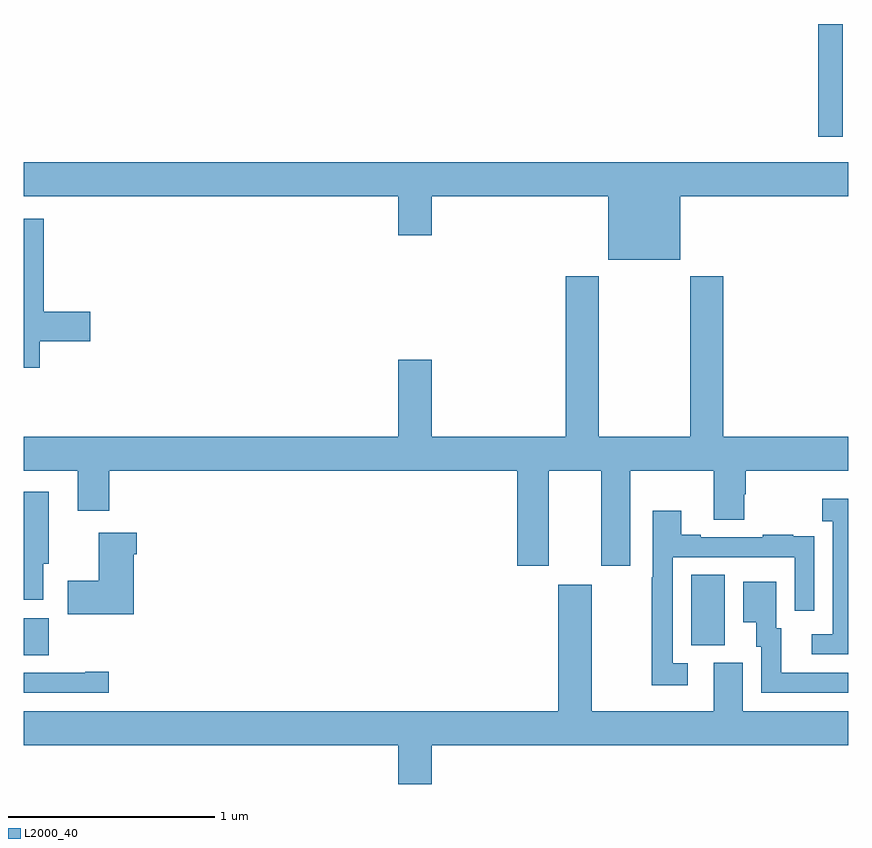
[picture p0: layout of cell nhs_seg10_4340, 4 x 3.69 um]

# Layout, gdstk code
import gdstk
lib = gdstk.Library(unit=1e-6, precision=1e-09)
def R(c, l, rs):  # rectangles x0, y0, x1, y1
    for r in rs: c.add(gdstk.rectangle(r[:2], r[2:], *l))
def P(c, l, *ps):  # polygons
    for p in ps: c.add(gdstk.Polygon(p, *l))
L2000_40 = (2000, 40)

nhs_seg10_4340 = lib.new_cell('nhs_seg10_4340')
R(nhs_seg10_4340, L2000_40, [(355,1283.437,355.121,1283.616), (358.238,1283.485,358.402,1283.828), (358.854,1285.953,358.975,1286.5)])
P(nhs_seg10_4340, L2000_40, [(358.186,1285.664),(359,1285.664),(359,1285.828),(355,1285.828),(355,1285.664),(356.816,1285.664),(356.816,1285.476),(356.98,1285.476),(356.98,1285.664),(357.836,1285.664),(357.836,1285.355),(358.186,1285.355)],
  [(355.078,1284.961),(355.321,1284.961),(355.321,1285.103),(355.097,1285.103),(355.097,1285.554),(355,1285.554),(355,1284.833),(355.078,1284.833)],
  [(357.547,1284.332),(357.803,1284.332),(357.803,1283.871),(357.943,1283.871),(357.943,1284.332),(358.349,1284.332),(358.349,1284.094),(358.497,1284.094),(358.497,1284.219),(358.502,1284.219),(358.502,1284.332),(359,1284.332),(359,1284.496),(358.394,1284.496),(358.394,1285.276),(358.234,1285.276),(358.234,1284.496),(357.789,1284.496),(357.789,1285.276),(357.629,1285.276),(357.629,1284.496),(356.98,1284.496),(356.98,1284.871),(356.816,1284.871),(356.816,1284.496),(355,1284.496),(355,1284.332),(355.262,1284.332),(355.262,1284.138),(355.415,1284.138),(355.415,1284.332),(357.395,1284.332),(357.395,1283.871),(357.547,1283.871)],
  [(355.093,1283.88),(355.12,1283.88),(355.12,1284.229),(355,1284.229),(355,1283.705),(355.093,1283.705)],
  [(359,1284.196),(358.875,1284.196),(358.875,1284.086),(358.926,1284.086),(358.926,1283.538),(358.824,1283.538),(358.824,1283.442),(359,1283.442)],
  [(358.222,1283.397),(358.149,1283.397),(358.149,1283.913),(358.74,1283.913),(358.74,1283.652),(358.836,1283.652),(358.836,1283.906),(358.835,1283.906),(358.835,1284.015),(358.733,1284.015),(358.733,1284.022),(358.585,1284.022),(358.585,1284.009),(358.285,1284.009),(358.285,1284.022),(358.189,1284.022),(358.189,1284.139),(358.053,1284.139),(358.053,1283.816),(358.048,1283.816),(358.048,1283.292),(358.222,1283.292)],
  [(355.534,1283.927),(355.547,1283.927),(355.547,1284.031),(355.364,1284.031),(355.364,1283.799),(355.212,1283.799),(355.212,1283.636),(355.534,1283.636)],
  [(359,1283.352),(358.675,1283.352),(358.675,1283.568),(358.651,1283.568),(358.651,1283.794),(358.49,1283.794),(358.49,1283.597),(358.553,1283.597),(358.553,1283.478),(358.578,1283.478),(358.578,1283.256),(359,1283.256)],
  [(356.98,1283),(359,1283),(359,1283.164),(358.489,1283.164),(358.489,1283.4),(358.349,1283.4),(358.349,1283.164),(357.757,1283.164),(357.757,1283.779),(357.593,1283.779),(357.593,1283.164),(355,1283.164),(355,1283),(356.816,1283),(356.816,1282.812),(356.98,1282.812)],
  [(355.411,1283.357),(355.298,1283.357),(355.298,1283.352),(355,1283.352),(355,1283.256),(355.411,1283.256)])

lib.write_gds('nhs_seg10_4340.gds')
